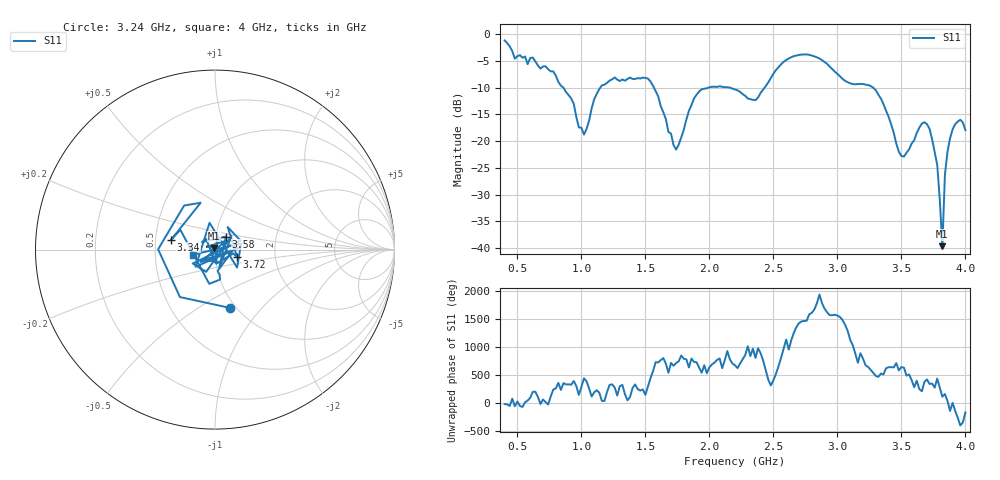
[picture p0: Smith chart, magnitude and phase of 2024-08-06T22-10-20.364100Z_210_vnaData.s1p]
!Created with skrf (http://scikit-rf.org).
# Hz S RI R 50.0
!freq ReS11 ImS11
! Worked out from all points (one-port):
!   181 points, 400 MHz to 4 GHz, reference 50 ohm
!   lowest |S11| = -39.7 dB at 3.82 GHz (marker M1), VSWR 1.02, Z = 49.6 + j0.944 ohm
!   |S11| at or under -10 dB: 860.3 MHz to 1.147 GHz (286.4 MHz wide, 28.5 % of centre); 1.567 GHz to 1.989 GHz (422.1 MHz wide, 23.7 % of centre); 3.281 GHz to end of sweep (the widest 3 of 4)
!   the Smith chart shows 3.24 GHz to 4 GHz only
!   S11 on the Smith chart (normalised r, x): 3.24 GHz: 0.94, -0.68; 3.34 GHz: 0.60, +0.07; 3.58 GHz: 1.12, +0.16; 3.72 GHz: 1.28, -0.11; 4 GHz: 0.78, -0.04
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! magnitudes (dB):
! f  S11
! 400 MHz  -1.1
! 480 MHz  -4.6
! 620 MHz  -4.3
! 860 MHz  -10.0
! 1.02 GHz  -18.8
! 1.14 GHz  -10.2
! 1.3 GHz  -8.7
! 1.52 GHz  -8.3
! 1.72 GHz  -20.7
! 1.76 GHz  -20.7
! 1.92 GHz  -10.7
! 2.2 GHz  -10.3
! 2.36 GHz  -12.3
! 2.66 GHz  -4.1
! 3.1 GHz  -9.2
! 3.24 GHz  -9.5
! 3.34 GHz  -12.0
! 3.48 GHz  -22.0
! 3.56 GHz  -21.5
! 3.58 GHz  -20.4
! 3.66 GHz  -16.7
! 3.72 GHz  -17.7
! 3.78 GHz  -24.4
! 3.82 GHz  -39.7
! 3.84 GHz  -26.3
! 3.88 GHz  -19.5
! 3.96 GHz  -16.0
! 4 GHz  -17.9
